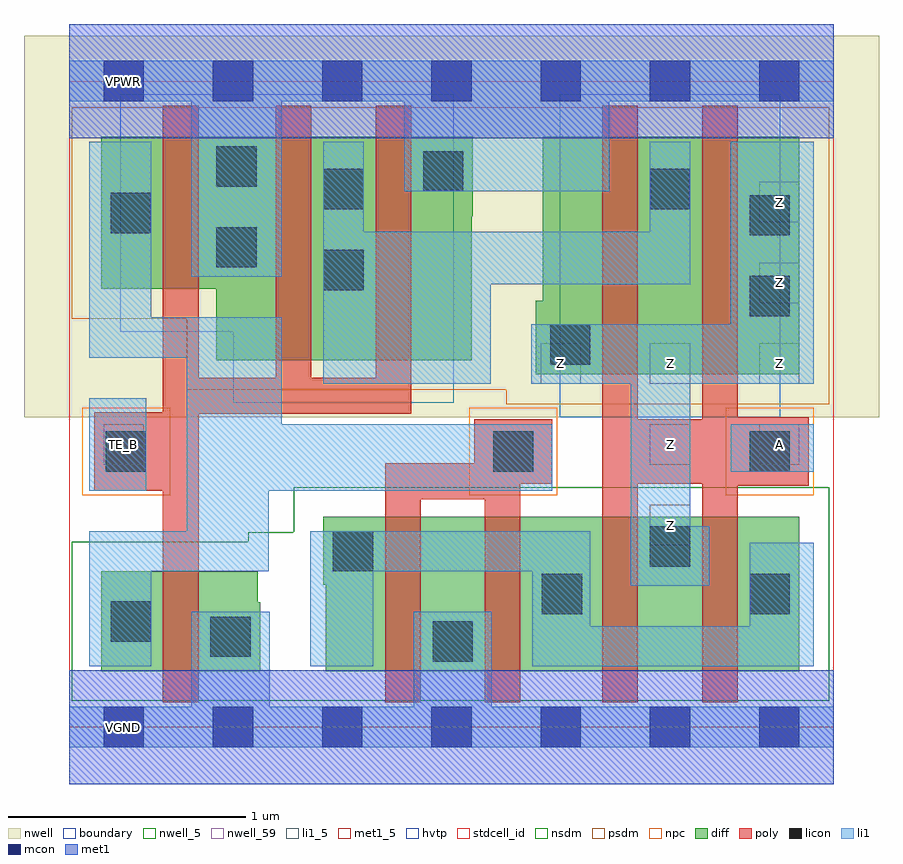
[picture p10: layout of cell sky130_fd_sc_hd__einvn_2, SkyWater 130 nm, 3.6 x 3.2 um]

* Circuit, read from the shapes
.subckt sky130_fd_sc_hd__einvn_2 A TE_B VGND VNB VPB VPWR Z
XM1 VGND TE_B n1 VNB sky130_fd_pr__nfet_01v8 w=0.42 l=0.15
XM2 VGND n1 n2 VNB sky130_fd_pr__nfet_01v8 w=0.65 l=0.15 m=2
XM3 Z A n2 VNB sky130_fd_pr__nfet_01v8 w=0.65 l=0.15 m=2
XM4 VPWR TE_B n1 VPB sky130_fd_pr__pfet_01v8_hvt w=0.64 l=0.15
XM5 n3 TE_B VPWR VPB sky130_fd_pr__pfet_01v8_hvt w=0.94 l=0.15 m=2
XM6 n3 A Z VPB sky130_fd_pr__pfet_01v8_hvt w=1 l=0.15 m=2
.ends

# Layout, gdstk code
import gdstk
lib = gdstk.Library(unit=1e-6, precision=1e-09)
def R(c, l, rs):  # rectangles x0, y0, x1, y1
    for r in rs: c.add(gdstk.rectangle(r[:2], r[2:], *l))
def A(c, l, x, y, w, h, nx, ny, dx, dy):  # array of equal rectangles
    R(c, l, [(x+i*dx, y+j*dy, x+i*dx+w, y+j*dy+h) for i in range(nx) for j in range(ny)])
nwell_5 = (64, 5)
nwell = (64, 20)
nwell_59 = (64, 59)
diff = (65, 20)
poly = (66, 20)
licon = (66, 44)
li1_5 = (67, 5)
li1 = (67, 20)
mcon = (67, 44)
met1_5 = (68, 5)
met1 = (68, 20)
hvtp = (78, 44)
stdcell_id = (81, 4)
nsdm = (93, 44)
psdm = (94, 20)
npc = (95, 20)
boundary = (235, 4)

sky130_fd_sc_hd__einvn_2 = lib.new_cell('sky130_fd_sc_hd__einvn_2')
R(sky130_fd_sc_hd__einvn_2, nwell_5, [(0.145,2.635,0.315,2.805)])
R(sky130_fd_sc_hd__einvn_2, nwell, [(-0.19,1.305,3.41,2.91)])
R(sky130_fd_sc_hd__einvn_2, nwell_59, [(0.145,-0.085,0.315,0.085)])
R(sky130_fd_sc_hd__einvn_2, diff, [(0.135,0.235,0.805,0.525), (1.08,0.235,3.075,0.6), (0.135,0.525,0.795,0.655), (1.07,0.6,3.075,0.885), (1.965,1.485,3.075,1.795), (0.62,1.545,1.695,1.845), (1.995,1.795,3.075,2.485), (0.135,1.845,1.695,2.15), (0.135,2.15,1.7,2.485)])
R(sky130_fd_sc_hd__einvn_2, poly, [(0.395,0.105,0.545,0.995), (1.33,0.105,1.48,0.96), (1.75,0.105,1.9,0.96), (2.245,0.105,2.395,1.025), (2.665,0.105,2.815,1.015), (1.33,0.96,1.9,1.025), (0.105,0.995,0.545,1.32), (2.665,1.015,3.115,1.025), (1.33,1.025,2.035,1.11), (2.245,1.025,3.115,1.295), (1.705,1.11,2.035,1.295), (2.245,1.295,2.395,2.615), (2.665,1.295,3.115,1.305), (2.665,1.305,2.815,2.615), (0.105,1.32,1.44,1.325), (0.395,1.325,1.44,1.47), (0.395,1.47,0.545,2.615), (0.87,1.47,1.02,2.615), (1.29,1.47,1.44,2.615)])
R(sky130_fd_sc_hd__einvn_2, licon, [(1.53,0.275,1.7,0.445), (0.595,0.295,0.765,0.465), (0.175,0.36,0.345,0.53), (1.99,0.475,2.16,0.645), (2.865,0.475,3.035,0.645), (1.11,0.655,1.28,0.825), (2.445,0.675,2.615,0.845), (0.155,1.075,0.325,1.245), (1.785,1.075,1.955,1.245), (2.865,1.075,3.035,1.245), (2.025,1.525,2.195,1.695), (2.865,1.73,3.035,1.9), (1.07,1.84,1.24,2.01), (0.62,1.935,0.79,2.105), (2.865,2.07,3.035,2.24), (0.175,2.08,0.345,2.25), (1.07,2.18,1.24,2.35), (2.445,2.18,2.615,2.35), (1.49,2.255,1.66,2.425), (0.62,2.275,0.79,2.445)])
A(sky130_fd_sc_hd__einvn_2, li1_5, 1.985, 1.445, 0.17, 0.17, 3, 1, 0.46, 0)
R(sky130_fd_sc_hd__einvn_2, li1_5, [(2.445,0.765,2.615,0.935), (0.145,1.105,0.315,1.275), (2.445,1.105,2.615,1.275), (2.905,1.105,3.075,1.275), (2.905,1.785,3.075,1.955), (2.905,2.125,3.075,2.295)])
R(sky130_fd_sc_hd__einvn_2, li1, [(0,-0.085,3.22,0.085), (0.515,0.085,0.845,0.485), (1.45,0.085,1.78,0.485), (0.085,0.255,0.345,0.655), (1.015,0.255,1.28,0.655), (1.95,0.255,3.135,0.425), (1.95,0.425,2.195,0.655), (2.865,0.425,3.135,0.775), (2.365,0.595,2.695,0.845), (0.085,0.655,0.84,0.825), (1.015,0.655,2.195,0.825), (0.495,0.825,0.84,0.995), (2.365,0.845,2.615,1.445), (0.085,0.995,0.325,1.385), (0.495,0.995,2.035,1.275), (2.785,1.075,3.135,1.275), (0.495,1.275,0.895,1.555), (1.07,1.445,1.775,1.865), (1.945,1.445,3.135,1.695), (0.085,1.555,0.895,1.725), (2.785,1.695,3.135,2.465), (0.085,1.725,0.345,2.465), (1.07,1.865,2.615,2.085), (0.515,1.895,0.895,2.635), (1.07,2.085,1.24,2.465), (2.445,2.085,2.615,2.465), (1.41,2.255,2.275,2.635), (0,2.635,3.22,2.805)])
A(sky130_fd_sc_hd__einvn_2, mcon, 0.145, -0.085, 0.17, 0.17, 7, 2, 0.46, 2.72)
R(sky130_fd_sc_hd__einvn_2, met1_5, [(0.145,-0.085,0.315,0.085), (0.145,2.635,0.315,2.805)])
R(sky130_fd_sc_hd__einvn_2, met1, [(0,-0.24,3.22,0.24), (0,2.48,3.22,2.96)])
R(sky130_fd_sc_hd__einvn_2, hvtp, [(2.065,1.305,2.995,2.665), (0.69,1.365,1.62,1.665), (0.215,1.665,1.62,2.665)])
R(sky130_fd_sc_hd__einvn_2, stdcell_id, [(0,0,3.22,2.72)])
R(sky130_fd_sc_hd__einvn_2, nsdm, [(0.01,0.11,3.2,0.78), (0.755,0.78,3.2,0.82), (0.945,0.82,3.2,1.01)])
R(sky130_fd_sc_hd__einvn_2, psdm, [(1.84,1.36,3.2,1.42), (0.495,1.42,3.2,1.72), (0.01,1.72,3.2,2.61)])
R(sky130_fd_sc_hd__einvn_2, npc, [(0.055,0.975,0.425,1.345), (1.685,0.975,2.055,1.345), (2.765,0.975,3.135,1.345)])
R(sky130_fd_sc_hd__einvn_2, boundary, [(0,0,3.22,2.72)])
sky130_fd_sc_hd__einvn_2.add(gdstk.Label('TE_B', (0.23,1.19), layer=67, texttype=5))
sky130_fd_sc_hd__einvn_2.add(gdstk.Label('A', (2.99,1.19), layer=67, texttype=5))
sky130_fd_sc_hd__einvn_2.add(gdstk.Label('Z', (2.53,0.85), layer=67, texttype=5))
sky130_fd_sc_hd__einvn_2.add(gdstk.Label('Z', (2.53,1.19), layer=67, texttype=5))
sky130_fd_sc_hd__einvn_2.add(gdstk.Label('Z', (2.07,1.53), layer=67, texttype=5))
sky130_fd_sc_hd__einvn_2.add(gdstk.Label('Z', (2.53,1.53), layer=67, texttype=5))
sky130_fd_sc_hd__einvn_2.add(gdstk.Label('Z', (2.99,1.53), layer=67, texttype=5))
sky130_fd_sc_hd__einvn_2.add(gdstk.Label('Z', (2.99,2.21), layer=67, texttype=5))
sky130_fd_sc_hd__einvn_2.add(gdstk.Label('Z', (2.99,1.87), layer=67, texttype=5))
sky130_fd_sc_hd__einvn_2.add(gdstk.Label('VPWR', (0.23,2.72), layer=68, texttype=5))
sky130_fd_sc_hd__einvn_2.add(gdstk.Label('VGND', (0.23,0), layer=68, texttype=5))
sky130_fd_sc_hd__einvn_2.add(gdstk.Label('VPB', (0.23,2.72), layer=64, texttype=5))
sky130_fd_sc_hd__einvn_2.add(gdstk.Label('VNB', (0.23,0), layer=64, texttype=59))

lib.write_gds('sky130_fd_sc_hd__einvn_2.gds')
